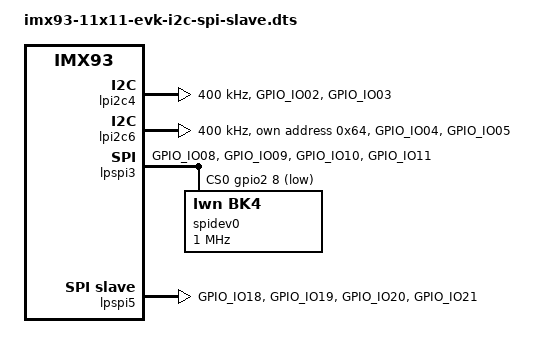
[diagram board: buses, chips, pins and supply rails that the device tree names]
// SPDX-License-Identifier: (GPL-2.0+ OR MIT)
/*
 * Copyright 2024 NXP
 */

#include "imx93-11x11-evk.dts"
#include <dt-bindings/i2c/i2c.h>

/*
 * There is a pad conflict on sai3 and lpspi5 so it should be disabled.
 * And sound-wm8962 relies on sai3 so it should be disabled.
 * There is a pad conflict on lpuart7 and lpspi3 so it should be disabled.
 * Because of the 4-channel analog switch, flexcan2 can not work with lpspi3
 * at the same time. So it should be disabled.
 */
/{
	aliases {
		sound-wm8962 {
			status = "disabled";
		};
	};
};

&flexcan2 {
	status = "disabled";
};

&lpuart7 {
	status = "disabled";
};

&sai3 {
	status = "disabled";
};

/* lpi2c4 work as a lpi2c master bus */
&lpi2c4 {
	clock-frequency = <400000>;
	pinctrl-names = "default";
	pinctrl-0 = <&pinctrl_lpi2c4>;
	status = "okay";

};

/*
 * lpi2c6 work as a lpi2c slave bus.
 * The simulated 256 bytes-size slave-eeprom is instantiated
 * at 7 bit address 0x64 on lpi2c6.
 */
&lpi2c6 {
	clock-frequency = <400000>;
	pinctrl-names = "default";
	pinctrl-0 = <&pinctrl_lpi2c6>;
	status = "okay";

	eeprom@64 {
		compatible = "linux,slave-24c02";
		reg = <(0x64 | I2C_OWN_SLAVE_ADDRESS)>;
	};
};

/* lpspi3 work as a master bus */
&lpspi3 {
	fsl,spi-num-chipselects = <1>;
	pinctrl-names = "default";
	pinctrl-0 = <&pinctrl_lpspi3>;
	cs-gpios = <&gpio2 8 GPIO_ACTIVE_LOW>;
	pinctrl-assert-gpios = <&adp5585 4 GPIO_ACTIVE_HIGH>;
	status = "okay";

	spidev0: spi@0 {
		reg = <0>;
		compatible = "lwn,bk4";
		spi-max-frequency = <1000000>;
	};
};

/* lpspi5 work as a slave bus */
&lpspi5 {
	#address-cells = <0>;
	fsl,spi-num-chipselects = <1>;
	pinctrl-names = "default";
	pinctrl-0 = <&pinctrl_lpspi5>;
	status = "okay";

	spi-slave;

	slave {
		compatible = "lwn,bk4";
		spi-max-frequency = <1000000>;
	};
};

&iomuxc {
	pinctrl_lpi2c4: lpi2c4grp {
		fsl,pins = <
			MX93_PAD_GPIO_IO02__LPI2C4_SDA			0x40000b9e
			MX93_PAD_GPIO_IO03__LPI2C4_SCL			0x40000b9e
		>;
	};

	pinctrl_lpi2c6: lpi2c6grp {
		fsl,pins = <
			MX93_PAD_GPIO_IO04__LPI2C6_SDA			0x40000b9e
			MX93_PAD_GPIO_IO05__LPI2C6_SCL			0x40000b9e
		>;
	};

	pinctrl_lpspi3: lpspi3grp {
		fsl,pins = <
			MX93_PAD_GPIO_IO08__GPIO2_IO08		0x3fe
			MX93_PAD_GPIO_IO09__LPSPI3_SIN		0x3fe
			MX93_PAD_GPIO_IO10__LPSPI3_SOUT		0x3fe
			MX93_PAD_GPIO_IO11__LPSPI3_SCK		0x3fe
		>;
	};

	pinctrl_lpspi5: lpspi5grp {
		fsl,pins = <
			MX93_PAD_GPIO_IO18__LPSPI5_PCS0		0x3fe
			MX93_PAD_GPIO_IO19__LPSPI5_SIN		0x3fe
			MX93_PAD_GPIO_IO20__LPSPI5_SOUT		0x3fe
			MX93_PAD_GPIO_IO21__LPSPI5_SCK		0x3fe
		>;
	};
};
